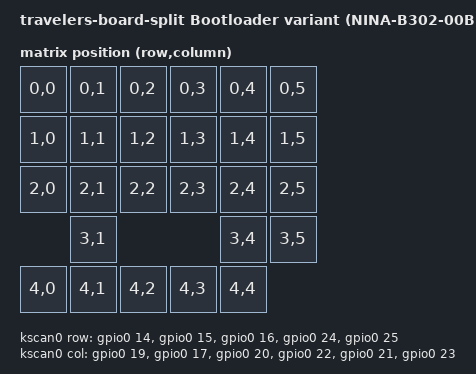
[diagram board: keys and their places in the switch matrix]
/dts-v1/;

#include <nordic/nrf52840_qiaa.dtsi>
#include <dt-bindings/zmk/matrix_transform.h>

/ {
    model = "travelers-board-split Bootloader variant (NINA-B302-00B)";
    compatible = "travelers-board-split-bootloader";

    chosen {
        zephyr,code-partition = &code_partition;
        zephyr,flash = &flash0;
        zephyr,sram = &sram0;
        zmk,kscan = &kscan0;
        zmk,matrix-transform = &default_transform;
        zmk,battery = &vbat;
    };

    default_transform: keymap_transform_0 {
        compatible = "zmk,matrix-transform";
        rows = <5>;
        columns = <6>;
        map = <
            RC(0,0) RC(0,1) RC(0,2) RC(0,3) RC(0,4) RC(0,5)
            RC(1,0) RC(1,1) RC(1,2) RC(1,3) RC(1,4) RC(1,5)
            RC(2,0) RC(2,1) RC(2,2) RC(2,3) RC(2,4) RC(2,5)
                    RC(3,1)                 RC(3,4) RC(3,5)
            RC(4,0) RC(4,1) RC(4,2) RC(4,3) RC(4,4)
        >;
    };

    kscan0: kscan_0 {
        compatible = "zmk,kscan-gpio-matrix";
        row-gpios = <
            &gpio0 14 (GPIO_ACTIVE_HIGH | GPIO_PULL_DOWN)
            &gpio0 15 (GPIO_ACTIVE_HIGH | GPIO_PULL_DOWN)
            &gpio0 16 (GPIO_ACTIVE_HIGH | GPIO_PULL_DOWN)
            &gpio0 24 (GPIO_ACTIVE_HIGH | GPIO_PULL_DOWN)
            &gpio0 25 (GPIO_ACTIVE_HIGH | GPIO_PULL_DOWN)
        >;
        col-gpios = <
            &gpio0 19 GPIO_ACTIVE_HIGH
            &gpio0 17 GPIO_ACTIVE_HIGH
            &gpio0 20 GPIO_ACTIVE_HIGH
            &gpio0 22 GPIO_ACTIVE_HIGH
            &gpio0 21 GPIO_ACTIVE_HIGH
            &gpio0 23 GPIO_ACTIVE_HIGH
        >;
        diode-direction = "col2row";
    };

    vbat: battery {
        compatible = "zmk,power-gated-battery-voltage-divider";
        status = "okay";
        io-channels = <&adc 2>;
        output-ohms = <1000000>;
        full-ohms = <2000000>;
        power-gpios = <&gpio0 13 GPIO_ACTIVE_HIGH>;
        settle-delay-ms = <300>;
    };
};

&adc { status = "okay"; };
&gpiote { status = "okay"; };
&gpio0 { status = "okay"; };
&gpio1 { status = "okay"; };
&uart0 { status = "disabled"; };
&usbd { status = "okay"; };

&flash0 {
    partitions {
        compatible = "fixed-partitions";
        #address-cells = <1>;
        #size-cells = <1>;

        mbr_partition: partition@0 {
            label = "mbr";
            reg = <0x00000000 0x00001000>;
            read-only;
        };

        s140_partition: partition@1000 {
            label = "s140";
            reg = <0x00001000 0x00026000>;
            read-only;
        };

        code_partition: partition@27000 {
            label = "code";
            reg = <0x00027000 0x000ad000>;
        };

        storage_partition: partition@d4000 {
            label = "storage";
            reg = <0x000d4000 0x00020000>;
        };

        bootloader_partition: partition@f4000 {
            label = "bootloader";
            reg = <0x000f4000 0x0000c000>;
            read-only;
        };
    };
};
